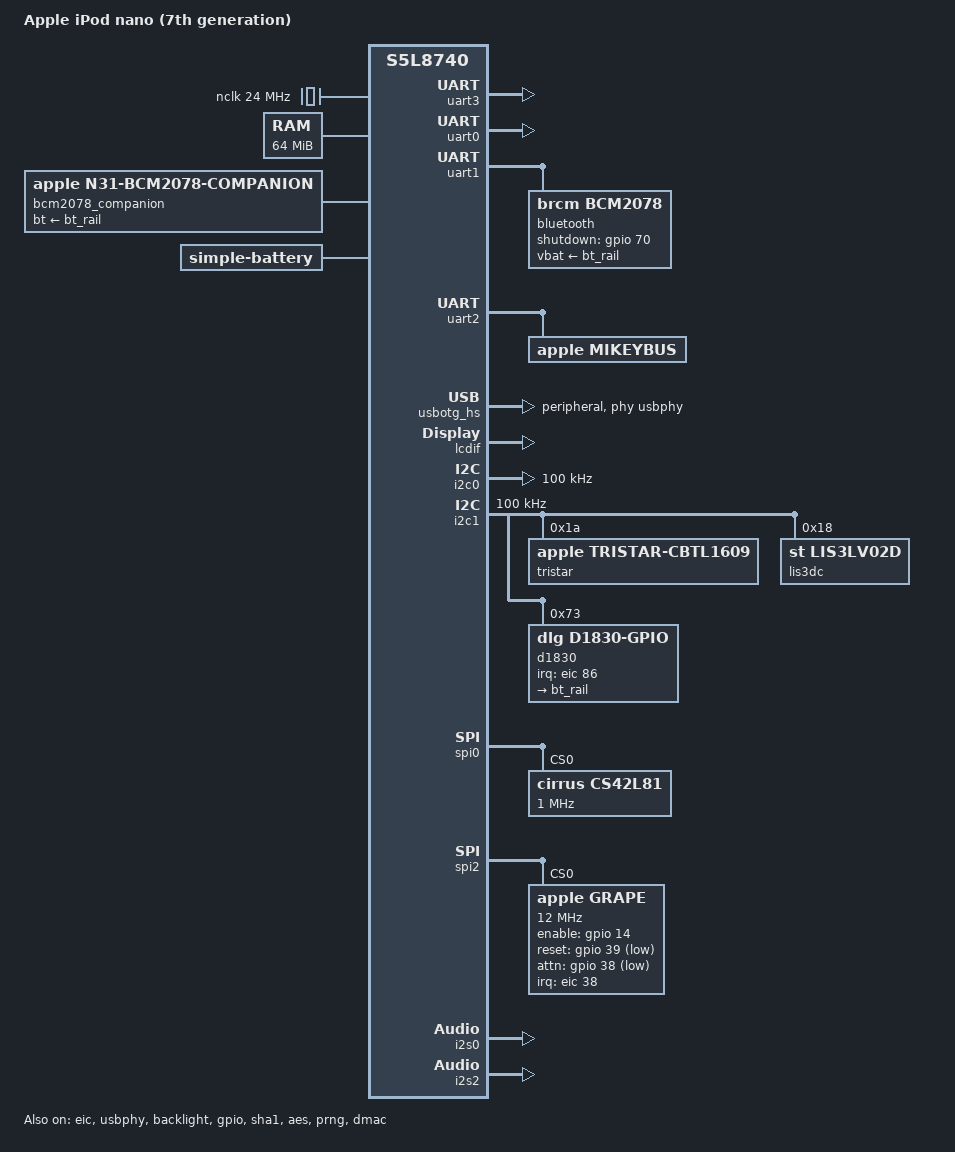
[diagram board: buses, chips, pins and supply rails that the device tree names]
// SPDX-License-Identifier: GPL-2.0+
/*
 * Apple S5L8740 SoC
 * Board name: N31
 * Product name: iPod nano (7th generation)
 */
/dts-v1/;

#include <dt-bindings/input/input.h>
#include <dt-bindings/gpio/gpio.h>
#include <dt-bindings/clock/samsung,s5l8702-clock.h>
#include <dt-bindings/interrupt-controller/irq.h>

/ {
    #address-cells = <1>;
    #size-cells = <1>;
    model = "Apple iPod nano (7th generation)";
    compatible = "apple,n31", "samsung,s5l8740";

    aliases {
        serial0 = &uart3;
        console = &uart3;
    };

    chosen {
        /* U-Boot CONFIG_BOOTARGS overrides this. g_ether is built-in (0525:a4a2). */
        bootargs = "console=tty0 fbcon=font:MINI4x6 earlyprintk nohlt panic=0 clk_ignore_unused init=/init netconsole=6666@192.168.7.2/,6666@192.168.7.1/";
        stdout-path = "serial0";
        /*
         * U-Boot ft_board_setup adds apple,n31-touch_cal-addr / apple,n31-touch_cal-size
         * pointing at a reserved DRAM copy of the A34 touch calibration object (0x560).
         * Do not consume the original 0x2202FE1C pointer from Linux.
         */
    };

    nclk: external_clock {
        compatible = "fixed-clock";
        #clock-cells = <0>;
        clock-frequency = <24000000>;
        clock-output-names = "nclk";
    };

    // pclk: clock-ref {
    //     compatible = "fixed-clock";
    //     #clock-cells = <0>;
    //     clock-frequency = <6000000>;
    //     clock-output-names = "pclk";
    // };

    cpus {
        #address-cells = <1>;
        #size-cells = <0>;

        cpu@0 {
            device_type = "cpu";
            reg = <0>;
            compatible = "arm,cortex-a5";
        };
    };

    memory@8000000 {
        device_type = "memory";
        reg = <0x08000000 0x04000000>;
    };

    /*
     * U-Boot copies the 0x560 A34 touch calibration object here (gap below DFU load,
     * above the 16 MiB bootm window). Chosen apple,n31-touch_cal-* is filled
     * at ft_board_setup; this node keeps Linux from recycling the page.
     */
    reserved-memory {
        #address-cells = <1>;
        #size-cells = <1>;
        ranges;

        n31-touch_cal@9dff000 {
            compatible = "apple,n31-touch_cal";
            reg = <0x09DFF000 0x1000>;
            no-map;
        };

        /*
         * Audio DMA buffer in SRAM, where stock keeps it.
         *
         * Measured on RetailOS with music playing: PL080 ch2 runs
         * src=0x220025d0 -> dst=0x3ca00010, i.e. the source is SRAM, not
         * DRAM. Ours was in DRAM at 0x095c0020.
         *
         * A second read, taken with playback PAUSED and the screen off,
         * showed src at 0x22002868 -- still inside SRAM, and with
         * EnbldChns still 4, Config still 1 and ctl/cfg unchanged. The
         * two reads bracket a stretch of playback, so they establish that
         * the source advances through SRAM; they do NOT show it moving at
         * the instant of the second read, because it was paused by then.
         * What the paused read does show is that stock leaves the channel
         * ENABLED across a pause, which is consistent with the
         * self-linked LLI never terminating.
         *
         * SRAM is 0x22000000..0x2202FFFF (192 KiB; the bootloader
         * descriptor at file offset 0x4BDC gives 0x00030000).
         *
         * This pool sits at 0x22002000, i.e. where stock puts its buffer
         * (measured src 0x220025d0 and 0x22002868 across two reads). It
         * was briefly at 0x22020000 -- the TOP of SRAM -- chosen to avoid
         * the resident code seen in the RetailOS SRAM dump. That was a
         * guess dressed as caution: the resident code is RetailOS's, and
         * with the buffer up there the PL080 moved ZERO bytes (c2 stayed
         * 0x800, src advanced only the 16-byte prefetch), where the same
         * channel from DRAM had at least moved one 32-byte burst. Whether
         * the top of SRAM is even reachable by the DMA is not
         * established, and there is no reason to find out: stock uses low
         * SRAM, so we use low SRAM.
         */
        i2s_sram: audio-dma@22002000 {
            compatible = "shared-dma-pool";
            reg = <0x22002000 0x10000>;
            no-map;
        };

        /*
         * IIS2 (BCM2078 FM/PCM capture) buffer, immediately above the
         * playback pool.
         *
         * In SRAM for the same reason the playback buffer is: the one
         * DRAM-sourced playback attempt moved a single 32-byte burst and
         * then stalled, and there is no reason to find out the hard way
         * whether the receive side behaves differently. Better to have
         * both ports in the memory stock uses.
         *
         * Placed as LOW as it can go without overlapping the playback
         * pool, which ends at 0x22012000. That is deliberate: the top of
         * SRAM has already been tried for playback and moved ZERO bytes
         * (c2 stayed 0x800, src advanced only the 16-byte prefetch), so
         * whether the DMA can even reach up there is unestablished. Low
         * SRAM is the part that is known to work.
         *
         * 32 KiB, not the 256 KiB the generic dmaengine-pcm config would
         * preallocate: SRAM is 192 KiB in total and 64 KiB of it is
         * already the playback buffer. A capture buffer does not need to
         * be large -- at 48 kHz stereo this is still ~85 ms.
         */
        i2s2_sram: audio-dma@22012000 {
            compatible = "shared-dma-pool";
            reg = <0x22012000 0x8000>;
            no-map;
        };
    };

    soc {
        compatible = "simple-bus";
        #address-cells = <1>;
        #size-cells = <1>;
        ranges;

        vic0: interrupt-controller@38e00000 {
            compatible = "arm,pl192-vic";
            interrupt-controller;
            reg = <0x38e00000 0x1000>;
            #interrupt-cells = <1>;
        };

        vic1: interrupt-controller@38e01000 {
            compatible = "arm,pl192-vic";
            interrupt-controller;
            reg = <0x38e01000 0x1000>;
            #interrupt-cells = <1>;
        };

        /*
         * GPIO -> EIC -> VIC. The two groups do not share a controller,
         * which is why this needs interrupts-extended:
         *
         *   group 1 (GPIO 32-63, volume keys 40/41) -> VIC1 line 0
         *   group 2 (GPIO 64-95, PMIC nIRQ 86)      -> VIC0 line 31
         *
         * Measured on the device by toggling each group's INTEN and
         * watching which VIC RAWINTR bit followed. The previous entry
         * put both on vic0 lines 1 and 3; neither line exists for the
         * EIC, so no GPIO interrupt was ever delivered -- buttons and
         * the touch nIRQ alike latched pending in the EIC forever.
         */
        eic: interrupt-controller@39700000 {
            compatible = "apple,s5l8740-eic", "samsung,s5l8740-eic";
            reg = <0x39700000 0x1000>;
            interrupt-controller;
            #interrupt-cells = <2>;
            interrupts-extended = <&vic1 0>, <&vic0 31>;
            apple,eic-groups = <1>, <2>;
            status = "okay";
        };

        timer: timer@3c700000 {
            compatible = "samsung,s5l8720-timer";
            reg = <0x3c700000 0x20000>;
            interrupt-parent = <&vic0>;
            interrupts = <7>;
        };

        /* if this one is not first, pointers get overwritten
           in the driver and it fails to initialize */
        uart3: serial@3dd00000 {
            compatible = "apple,s5l-uart";
            reg = <0x3dd00000 0x3c>;
            clocks = <&nclk>, <&nclk>;
            clock-names = "uart", "clk_uart_baud0";
            reg-io-width = <4>;
            interrupt-parent = <&vic0>;
            interrupts = <27>;
            status = "okay";
        };

        uart0: serial@3cc00000 {
            compatible = "apple,s5l-uart";
            reg = <0x3cc00000 0x3c>;
            clocks = <&nclk>, <&nclk>;
            clock-names = "uart", "clk_uart_baud0";
            reg-io-width = <4>;
            interrupt-parent = <&vic0>;
            interrupts = <24>;
            status = "okay";
        };

        uart1: serial@3db00000 {
            compatible = "apple,s5l-uart";
            reg = <0x3db00000 0x3c>;
            clocks = <&nclk>, <&nclk>;
            clock-names = "uart", "clk_uart_baud0";
            reg-io-width = <4>;
            interrupt-parent = <&vic0>;
            interrupts = <25>;
            status = "okay";

            /* BCM2078KUBG on UART1 @115200 — serdev → hci_bcm → hci0.
             * Companion GPIO/FM lives under apple,n31-bcm2078-companion. */
            bluetooth {
                compatible = "brcm,bcm2078", "brcm,bcm4329-bt";
                /*
                 * sphwBluetooth_Init opens the port and immediately
                 * sends 01 18 FC 06 00 00 00 9F 24 00 -- vendor command
                 * 0xFC18, baud rate 0x00249F00 = 2400000. hci_bcm sends
                 * the same command from this property, so leaving it at
                 * 115200 would have run the link eight times slower than
                 * stock once the controller started answering.
                 */
                /*
                 * A dependency, not a power role.
                 *
                 * The chip driver owns the sequence -- rails, REG_ON, the
                 * wake pins -- but it can only run after gpio-d1830 loads,
                 * at about t=7.4s. hci_bcm probes the serdev at t=4.8s and
                 * sent 0xFC18 into a part that had no supply yet, timing
                 * out before the chip driver ever got its turn.
                 *
                 * Naming the same rail here makes the bridge defer until
                 * the provider exists, which is the only ordering hook a
                 * serdev node has. Enabling an already-enabled regulator is
                 * a refcount, so this does not take power management away
                 * from the chip driver.
                 */
                vbat-supply = <&bt_rail>;
                max-speed = <2400000>;
                /*
                 * 97/98/119 were once listed as shutdown/device-wakeup/
                 * host-wakeup and must not go here: sub_15DD5C claims
                 * those three at function 2 when FM powers on and
                 * releases them when it powers off -- they are the IIS2
                 * PCM pads, and handing them to hci_bcm made it drive
                 * the capture bus as GPIOs.
                 *
                 * GPIO 70 is a different pin and is decomp-backed.
                 * sphwBluetooth_Init (sub_570054, reached from
                 * BluetoothOSBridgeInit) opens with
                 *
                 *     sub_43D38C(0x46u, 1, 1);
                 *
                 * pad 0x46 = 70, mode 1 = output, value 1 = high, before
                 * any HCI traffic. That is the power-on control the
                 * controller needs; without it hci0 binds and then
                 * HCI_Reset (0x0c03) times out, which is exactly what we
                 * were seeing. hci_bcm drives shutdown-gpios high on
                 * power-on, which matches.
                 */
                shutdown-gpios = <&gpio 70 GPIO_ACTIVE_HIGH>;
                firmware-name = "brcm/BCM2076B1.hcd";
                status = "okay";
            };
        };

        uart2: serial@3dc00000 {
            compatible = "apple,s5l-uart";
            reg = <0x3dc00000 0x3c>;
            clocks = <&nclk>, <&nclk>;
            clock-names = "uart", "clk_uart_baud0";
            reg-io-width = <4>;
            interrupt-parent = <&vic0>;
            interrupts = <26>;
            /*
             * MikeyBus on UART2. GPIO 66/67 = pad mux ONLY (not DIN detect).
             * Resistor/model = OSOS cmd 3/0x8D/ch3 (backend TBD).
             * force_plugged until resistor backend; RX = raw+osos rings.
             */
            status = "okay";

            mikeybus {
                compatible = "apple,mikeybus", "apple,n31-mikeybus";
                current-speed = <115200>;
                apple,force-plugged;
                status = "okay";
            };
        };

        usbphy: usbphy@3c400000 {
            /* N31 = s5l87xx PHY. Do NOT use apple,s5l8702-otgphy (Nano3 ramp). */
            compatible = "apple,s5l8740-otgphy", "apple,s5l87xx-otgphy";
            reg = <0x3c400000 0x100>;
            status = "okay";
            #phy-cells = <0>;
        };

        usbotg_hs: usb@38400000 {
            compatible = "apple,s5l8740-usb", "apple,s5l87xx-usb";
            reg = <0x38400000 0x40000>;
            interrupt-parent = <&vic0>;
            interrupts = <19>;
            phys = <&usbphy>;
            phy-names = "usb2-phy";
            clocks = <&nclk>;
            clock-names = "otg";
            /* Glass: GHWCFG3 DFIFO=2080 words, ded=1, in_eps=6.
             * SoC setter applies RetailOS sub_1B543A (NP=32, first
             * IN cap 512). These DT values are overwritten. */
            g-rx-fifo-size = <256>;
            g-np-tx-fifo-size = <256>;
            status = "okay";
            dr_mode = "peripheral";
            /* DMA on (g_dma=true) — HS was an IRQ storm only in slave PIO. */
            maximum-speed = "high-speed";
        };

        lcdif: lcdif@38300000 {
            compatible = "samsung,s5l8740-lcdif";
            /* LCDIF, the clock controller (an LCDIF reset has to cycle
             * two gates in it), then the MIPI DSI host. The panel is a
             * DCS command-mode panel: the window is set through the DSI
             * host and only the pixels go through LCDIF. */
            reg = <0x38300000 0x10000>, <0x3c500000 0x100>,
                  <0x3d800000 0x1000>;
        };

        /* MMIO backlight only. Never LCDIF CON/PHTIME. U-Boot already
         * wrote 62 @ +0x08; this class device owns brightness after probe. */
        backlight: backlight@3e000000 {
            compatible = "apple,s5l8740-backlight", "samsung,s5l8740-backlight";
            reg = <0x3e000000 0x100>;
            default-brightness = <62>;
            status = "okay";
        };

        wdt: watchdog@3c800000 {
            compatible = "apple,s5l8740-syscon", "syscon", "simple-mfd";
            reg = <0x3c800000 0x8>;

            reboot: syscon-reboot@3c800000 {
                compatible = "syscon-reboot";
                offset = <0x0>;
                value = <0x100000>;
                /* 0x100000 is the WDT arm/reset poke — do not probe until poweroff is proven. */
                status = "disabled";
            };
        };

        /* 2-line hack kept disabled; Vol± use full banked GPIO + EIC. */
        gpio5: gpio-hack@3cf000a4 {
            compatible = "brcm,bcm6345-gpio";
            reg-names = "dat";
            reg = <0x3cf000a4 0x4>;
            #gpio-cells = <2>;
            gpio-controller;
            ngpios = <2>;
            status = "disabled";
        };

        gpio: gpio@3cf00000 {
            compatible = "apple,s5l8740-gpio", "samsung,s5l8740-gpio";
            reg = <0x3cf00000 0x400>;
            apple,eic = <&eic>;
            apple,skip-sec-pinmux;
            #gpio-cells = <2>;
            gpio-controller;
            /*
             * The block is mapped 0x400, which is 32 banks of 8, so 256
             * pads exist. 128 was enough for BT host-wake at 119 but put
             * pad 0xC8 = 200 out of reach, and sub_17D4DC drives that one
             * as the Bluetooth power control on board variants 1 and 2.
             */
            ngpios = <256>;
            status = "okay";
        };

        /* Thin N31 helper: RetailOS GPIO mode-2 + FM 0xFC15 debug via hci0.
         * Does not own UART1 — that is bluetooth { } under uart1 → hci_bcm. */
        bcm2078_companion: bcm2078-companion {
            compatible = "apple,n31-bcm2078-companion";
            /*
             * The chip driver owns power. The UART-to-HCI bridge is a dumb
             * transport and takes no supply: hci_bcm carries power handling
             * upstream only because it doubles as the chip driver on most
             * boards, which is not the case here.
             */
            bt-supply = <&bt_rail>;
            status = "okay";
        };

        i2c0: i2c@3c600000 {
            compatible = "samsung,s5l8702-i2c";
            /* sub_5714EE bus 0. Nothing muxed these before, which is
             * why this bus reads as noise while i2c1 works: the
             * bootloader leaves i2c1 configured and this one not. */
            apple,pads = <4 5>;
            #address-cells = <1>;
            #size-cells = <0>;
            reg = <0x3c600000 0x100>;
            clock-frequency = <100000>;  /* UPDATE ME */
            interrupt-parent = <&vic0>;
            interrupts = <21>;
            /*
             * Glass 2026-08-27: IIC0 emcore-TX never completes (VIC21 irq
             * count stays 0). Keep the controller for RE; no children until
             * pinmux/clock path is proven.
             */
            status = "okay";
        };

        i2c1: i2c@3c900000 {
            compatible = "samsung,s5l8702-i2c";
            /* sub_5714EE bus 1. Already live at boot; re-applying the
             * stock mux is a no-op rather than a change. */
            apple,pads = <78 79>;
            #address-cells = <1>;
            #size-cells = <0>;
            reg = <0x3c900000 0x100>;
            clock-frequency = <100000>; /* UPDATE ME */
            interrupt-parent = <&vic0>;
            interrupts = <22>;
            status = "okay";

            /*
             * CBTL1609A1 — public 0x34/0x35 is 8-bit; Linux 7-bit is 0x1a.
             * Glass: lives on IIC1 (3c900000), NOT IIC0. Non-flat dump with
             * IDBUS 0x75 proven via i2cdump. RetailOS writes no Dx mux map.
             */
            tristar: lightning-mux@1a {
                compatible = "apple,tristar-cbtl1609", "nxp,cbtl1609a1",
                             "apple,n31-tristar";
                reg = <0x1a>;
                status = "okay";
            };

            lis3dc: lis331dlh@18 {
                compatible = "st,lis3lv02d";
                /* Linux DT 7-bit. Wire 8-bit is 0x30 write / 0x31 read. */
                reg = <0x18>;
                status = "okay";
            };

            d1830: pmic@73 {
                compatible = "dlg,d1830-gpio";
                /* Linux DT 7-bit. SEC sub_1C8C(115). Wire 8-bit 0xE6/0xE7. */
                reg = <0x73>;
                gpio-controller;
                #gpio-cells = <2>;
                /* OSOS sub_26520 packs PMIC regs 5-8; sub_3B3100 + sub_FFA*:
                 *   ID 1 Home  = reg7 bit4  (status bit 16)
                 *   ID 9 Sleep = reg7 bit5  (status bit 17)
                 *   ID 6 Play  = reg8 bit1  (status bit 19)
                 * Key path is active-low: sub_4195D8(id, bit==0).
                 * GPIOButtonManager has only GPIO 40/41 — not these.
                 */
                dlg,gpio-map = <0x07 4>, /* Home  OSOS ID 1 */
                               <0x07 5>, /* Sleep OSOS ID 9 */
                               <0x08 1>; /* Play  OSOS ID 6 (side, between Vol±) */
                /* SoC GPIO 86 → EIC group2 → VIC EXT3 */
                interrupt-parent = <&eic>;
                interrupts = <86 IRQ_TYPE_LEVEL_LOW>;
                monitored-battery = <&battery>;

                /*
                 * The Bluetooth rail, named so a consumer can reference it.
                 *
                 * bcm2078-bt is built into the kernel and probes long before
                 * this driver, which is a module. Asking for power through a
                 * direct hook in that window just fails. Asking for it as a
                 * regulator makes the kernel defer the consumer's probe until
                 * this node exists, which is the ordering guarantee that was
                 * missing.
                 */
                regulators {
                    bt_rail: bt {
                        regulator-name = "bt";
                    };
                };
            };
        };

        clkctrl: clock-controller@3c500000 {
            compatible = "samsung,s5l8702-clock";
            reg = <0x3c500000 0x100>;

            #clock-cells = <1>;
        };

        sha1: sha1@38000000 {
            compatible = "samsung,s5l8702-sha1";
            reg = <0x38000000 0x100>;
            clocks = <&clkctrl CLK_SHA1>;
            clock-names = "sha1";
            status = "okay";
        };

        aes: aes@38c00000 {
            compatible = "samsung,s5l8702-aes";
            reg = <0x38c00000 0x100>;
            clocks = <&clkctrl CLK_AES>;
            clock-names = "aes";
            status = "okay";
        };

        prng: prng@3c100000 {
            compatible = "samsung,s5l8702-prng";
            reg = <0x3c100000 0x100>;
            clocks = <&clkctrl CLK_PRNG>;
            clock-names = "prng";
            status = "okay";
        };

        /*
         * SPI0 @0x3C300000 — CS42L81 / 338S1146 control (RetailOS).
         * Panel pixels are LCDIF@383, not this bus. Pads 0–3 are the
         * SEC/gpio-s5l8740 SPI0 group (PCON 0x2222 in the SPI driver).
         */
        spi0: spi@3c300000 {
            compatible = "apple,s5l8702-spi", "samsung,s5l8740-spi",
                         "samsung,s5l8702-spi";
            reg = <0x3c300000 0x100>;
            /* CLKCON already ungate-all; SPI driver also clears PWRCON1 SPI0. */
            #address-cells = <1>;
            #size-cells = <0>;
            status = "okay";

            cs42l81: codec@0 {
                compatible = "cirrus,cs42l81", "apple,338s1146";
                reg = <0>;
                spi-max-frequency = <1000000>;
                #sound-dai-cells = <0>;
                status = "okay";
            };
        };

        /*
         * SPI2 @0x3D200000 — TI 343S0538 Grape. Pads 87/5, 88/3, 89/3,
         * 90/3 (OSOS 20690). EN 14, RST 39, IRQ 38. No clocks= — CCF
         * only publishes SHA/AES/PRNG; ungate-all + SPI PWRCON poke.
         */
        spi2: spi@3d200000 {
            compatible = "apple,s5l8702-spi", "samsung,s5l8740-spi",
                         "samsung,s5l8702-spi";
            reg = <0x3d200000 0x100>;
            #address-cells = <1>;
            #size-cells = <0>;
            status = "okay";

            grape: touchscreen@0 {
                compatible = "apple,grape";
                reg = <0>;
                /* Stock runs this bus at 12 MHz (divider 2 from 24 MHz).
                 * The controller programs its own divider, so this is
                 * documentation rather than a control. */
                spi-max-frequency = <12000000>;
                enable-gpios = <&gpio 14 GPIO_ACTIVE_HIGH>;
                reset-gpios = <&gpio 39 GPIO_ACTIVE_LOW>;
                attn-gpios = <&gpio 38 GPIO_ACTIVE_LOW>;
                /* GPIO38 → EIC group1 → VIC EXT1 */
                interrupts-extended = <&eic 38 IRQ_TYPE_LEVEL_LOW>;
                status = "okay";
            };
        };

        /*
         * PL080 pair from OSOS. Not 0x384 (DWC2).
         * RetailOS oracle: IIS0 TX peri 10 (DST 0x3ca00010); IIS0 RX 11 assumed;
         * IIS2 FM RX peri 13 (SRC 0x3d400038). PL080_1 unused in snaps.
         */
        dmac: dma-controller@38200000 {
            compatible = "apple,s5l8740-pl080", "arm,pl080";
            reg = <0x38200000 0x1000>, <0x38700000 0x1000>;
            interrupt-parent = <&vic0>;
            interrupts = <16>, <17>;
            #dma-cells = <2>;
            status = "okay";
        };

        i2s0: i2s@3ca00000 {
            compatible = "apple,s5l8740-i2s", "samsung,s5l8740-i2s";
            reg = <0x3ca00000 0x1000>;
            /*
             * This node had NO clocks property, so
             * devm_clk_bulk_get_all() returned zero clocks and nothing
             * ever ungated IIS0. PWRCON1 bit 7 is CLK_I2S0 in
             * clk-s5l8702.c, and stock clears it via sub_345D70(0x26,0,1)
             * from sub_C09AC before writing I2SCLKCON -- measured on
             * RetailOS as PWRCON1 0xef226fe3 idle -> 0xef226f23 playing.
             * CLK_CG16_9 is the codec gate, CLKCON+0x0C bit 15
             * (sub_41CBD8 case 9). The nodrm variant already had both.
             */
            clocks = <&clkctrl CLK_I2S0>, <&clkctrl CLK_CG16_9>;
            clock-names = "i2s", "cg16";
            memory-region = <&i2s_sram>;
            /*
             * SRAM is uncached, so the CPU and the PL080 already see the
             * same bytes and no cache maintenance is needed. Without this,
             * the DMA API tries to clean a no-map region that has no
             * cacheable kernel mapping and oopses in v7_dma_clean_range.
             */
            dma-coherent;
            /* RetailOS music: TX peri 10 confirmed. RX 11 still assumed. */
            dmas = <&dmac 10 0>, <&dmac 11 0>;
            dma-names = "tx", "rx";
            #sound-dai-cells = <0>;
            status = "okay";
        };

        /*
         * BCM2078 digital PCM (SoC IIS2 @ 0x3D400000).
         * RX FIFO @ +0x38, PL080 peri 13 — FM + module→SoC PCM in.
         * IIS1 @ 0x3CD00000 is unused (XSP); BT A2DP out = UART1 HCI.
         * RetailOS: bt-*-scsi-live/, fm-*-scsi-live/
         */
        i2s2: i2s@3d400000 {
            compatible = "apple,s5l8740-bcm2078-pcm", "apple,s5l8740-iis2";
            reg = <0x3d400000 0x1000>;
            dmas = <&dmac 13 0>;
            dma-names = "rx";
            /* Capture buffer in low SRAM; see the i2s2_sram node. */
            memory-region = <&i2s2_sram>;
            dma-coherent;
            #sound-dai-cells = <0>;
            status = "okay";
        };

        nano7_audio: audio {
            compatible = "apple,n31-audio";
            apple,cpu = <&i2s0>;
            apple,fm-cpu = <&i2s2>;
            apple,codec = <&cs42l81>;
            status = "okay";
        };
    };

    /* Design pack only. Voltage comes from D1830 OSOS ADC, not this node. */
    battery: battery {
        compatible = "simple-battery";
        voltage-min-design-microvolt = <3300000>;
        voltage-max-design-microvolt = <4200000>;
        energy-full-design-microwatt-hours = <740000>;
        charge-full-design-microamp-hours = <200000>;
    };

    /*
     * Keep gpio-keys disabled (p5-keys-alsa): Home/Sleep/Play come from
     * gpio-d1830 I2C poll + nIRQ; Vol± from gpio-s5l8740 DIN poll.
     * Enabling this node would double-report and risk 0xFFFE on Vol pads.
     */
    gpio-keys {
        compatible = "gpio-keys";
        status = "disabled";

        button-home {
            label = "Home Button";
            gpios = <&d1830 0 GPIO_ACTIVE_LOW>;
            linux,code = <KEY_HOMEPAGE>;
            status = "disabled";
        };

        button-power {
            label = "Power Button";
            gpios = <&d1830 1 GPIO_ACTIVE_LOW>;
            linux,code = <KEY_POWER>;
            status = "disabled";
        };

        button-playpause {
            label = "Play/Pause";
            gpios = <&d1830 2 GPIO_ACTIVE_LOW>;
            linux,code = <KEY_PLAYPAUSE>;
            status = "disabled";
        };
    };

    /* Disabled: gpio-keys-polled must not direction_input/0xFFFE Vol pads.
     * gpio-s5l8740 polls DIN and reports KEY_VOLUMEUP/DOWN; cs42l81-spi
     * input_handler steps Master Playback Volume.
     */
    gpio-keys-vol {
        compatible = "gpio-keys-polled";
        status = "disabled";
        poll-interval = <50>;

        button-volup {
            /* OSOS id 8, GPIO 0x28. Glass: Vol+. */
            label = "Volume Up";
            gpios = <&gpio 40 GPIO_ACTIVE_LOW>;
            linux,code = <KEY_VOLUMEUP>;
        };

        button-voldown {
            /* OSOS id 7, GPIO 0x29. Glass: Vol-. */
            label = "Volume Down";
            gpios = <&gpio 41 GPIO_ACTIVE_LOW>;
            linux,code = <KEY_VOLUMEDOWN>;
        };
    };
};
